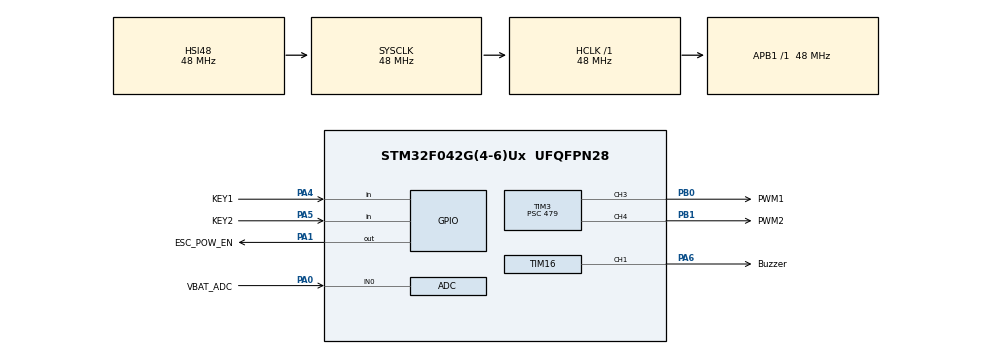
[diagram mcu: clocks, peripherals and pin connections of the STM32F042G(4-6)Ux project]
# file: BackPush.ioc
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ADC.ClockPrescaler=ADC_CLOCK_SYNC_PCLK_DIV4
ADC.ContinuousConvMode=ENABLE
ADC.DMAContinuousRequests=DISABLE
ADC.EnableAnalogWatchDog=false
ADC.SamplingTime=ADC_SAMPLETIME_239CYCLES_5
Mcu.Family=STM32F0
Mcu.Name=STM32F042G(4-6)Ux
Mcu.Package=UFQFPN28
PA0.GPIO_Label=VBAT_ADC
PA0.Mode=IN0
PA0.Signal=ADC_IN0
PA0.Stacked=true
PA1.GPIO_Label=ESC_POW_EN
PA1.GPIO_PuPd=GPIO_PULLUP
PA1.GPIO_Speed=GPIO_SPEED_FREQ_HIGH
PA1.Signal=GPIO_Output
PA13.Mode=Serial_Wire
PA13.Signal=SYS_SWDIO
PA14.Mode=Serial_Wire
PA14.Signal=SYS_SWCLK
PA4.GPIO_Label=KEY1
PA4.GPIO_PuPd=GPIO_PULLUP
PA4.Signal=GPIO_Input
PA5.GPIO_Label=KEY2
PA5.GPIO_PuPd=GPIO_PULLUP
PA5.Signal=GPIO_Input
PA6.GPIO_Label=Buzzer
PA6.Signal=S_TIM16_CH1
PB0.GPIO_Label=PWM1
PB0.Signal=S_TIM3_CH3
PB1.GPIO_Label=PWM2
PB1.Signal=S_TIM3_CH4
PF0-OSC_IN.Mode=HSE-External-Oscillator
PF0-OSC_IN.Signal=RCC_OSC_IN
PF1-OSC_OUT.Mode=HSE-External-Oscillator
PF1-OSC_OUT.Signal=RCC_OSC_OUT
ProjectManager.HeapSize=0x200
ProjectManager.StackSize=0x400
ProjectManager.TargetToolchain=MDK-ARM V5
RCC.AHBFreq_Value=48000000
RCC.APB1Freq_Value=48000000
RCC.APB1TimFreq_Value=48000000
RCC.HCLKFreq_Value=48000000
RCC.HSE_VALUE=25000000
RCC.PLLSourceVirtual=RCC_PLLSOURCE_HSE
RCC.SYSCLKFreq_VALUE=48000000
RCC.SYSCLKSource=RCC_SYSCLKSOURCE_HSI48
SH.S_TIM16_CH1.0=TIM16_CH1,PWM Generation1 CH1
SH.S_TIM3_CH3.0=TIM3_CH3,PWM Generation3 CH3
SH.S_TIM3_CH4.0=TIM3_CH4,PWM Generation4 CH4
TIM16.Channel=TIM_CHANNEL_1
TIM16.Period=24
TIM16.Prescaler=479
TIM3.Channel-PWM\ Generation3\ CH3=TIM_CHANNEL_3
TIM3.Channel-PWM\ Generation4\ CH4=TIM_CHANNEL_4
TIM3.Period=1999
TIM3.Prescaler=479
VP_TIM16_VS_ClockSourceINT.Mode=Enable_Timer
board=custom

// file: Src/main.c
/* USER CODE BEGIN Header */
/**
  ******************************************************************************
  * @file           : main.c
  * @brief          : Main program body
  ******************************************************************************
  * @attention
  *
  * <h2><center>&copy; Copyright (c) 2019 STMicroelectronics.
  * All rights reserved.</center></h2>
  *
  * This software component is licensed by ST under BSD 3-Clause license,
  * the "License"; You may not use this file except in compliance with the
  * License. You may obtain a copy of the License at:
  *                        opensource.org/licenses/BSD-3-Clause
  *
  ******************************************************************************
  */
/* USER CODE END Header */

#include "main.h"

/* USER CODE BEGIN Includes */

#include<stdio.h>

/* USER CODE END Includes */

ADC_HandleTypeDef hadc;

TIM_HandleTypeDef htim3;
TIM_HandleTypeDef htim16;

void SystemClock_Config(void);
static void MX_GPIO_Init(void);
static void MX_ADC_Init(void);
static void MX_TIM3_Init(void);
static void MX_TIM16_Init(void);

/* USER CODE BEGIN 0 */

extern __IO uint32_t uwTick;
typedef enum
{
	off = 0,
	one,
	two
}Gears;

typedef enum
{
	stop = 0,
	standby,
	on
}WorkStatus;

#define constrain(amt,low,high)  ((amt)<(low)?(low):((amt)>(high)?(high):(amt)))
#define ARRAY_NUMBER 50
ADC_HandleTypeDef hadc1;
TIM_HandleTypeDef htim1;
uint32_t ADC_Value[ARRAY_NUMBER],Volt_Sum,Volt_average;
float Volt_Real;
uint8_t key1_status,key2_status;
uint16_t pwm_value;
uint8_t i;
uint32_t runtimes;
uint32_t key1_count,key2_count;
uint8_t  key1_loosen,key2_loosen;
uint16_t pwm_target;
float pwm_temp;
uint8_t low_power_flag;
/* USER CODE END 0 */

int main(void)
{

  /* MCU Configuration--------------------------------------------------------*/

  /* Reset of all peripherals, Initializes the Flash interface and the Systick. */
  HAL_Init();

  /* Configure the system clock */
  SystemClock_Config();

  /* Initialize all configured peripherals */
  MX_GPIO_Init();
  MX_ADC_Init();
  MX_TIM3_Init();
  MX_TIM16_Init();
  /* USER CODE BEGIN 2 */
//	HAL_ADC_Start_DMA(&hadc1,(uint32_t *)&ADC_Value,100);
	HAL_TIM_PWM_Start(&htim3,TIM_CHANNEL_3);
	HAL_TIM_PWM_Start(&htim3,TIM_CHANNEL_4);
	HAL_TIM_PWM_Start(&htim16,TIM_CHANNEL_1);
	HAL_GPIO_WritePin(ESC_POW_EN_GPIO_Port,ESC_POW_EN_Pin,GPIO_PIN_RESET);
	//initialization electronic speed controller
//	__HAL_TIM_SET_COMPARE(&htim3,TIM_CHANNEL_3,100);
//	__HAL_TIM_SET_COMPARE(&htim3,TIM_CHANNEL_4,100);
//	HAL_Delay(1000);

  /* USER CODE END 2 */

  /* Infinite loop */
  while (1)
  {

    /* USER CODE BEGIN 3 */

		//key1 开关键 key2 速度键
//		key1_status = HAL_GPIO_ReadPin(GPIOA,KEY1_Pin);
//		key2_status = HAL_GPIO_ReadPin(GPIOA,KEY2_Pin);

		if(!HAL_GPIO_ReadPin(GPIOA,KEY1_Pin))
		{
			key1_count++;
		}
		else
		{
			key1_count = 0;
			key1_loosen = 1;
		}

		if(key1_status == stop)
		{
			if(key1_count >= 300)
			{
				if(key1_loosen == 1)
				{
					key1_status = standby;
					HAL_GPIO_WritePin(ESC_POW_EN_GPIO_Port,ESC_POW_EN_Pin,GPIO_PIN_SET);
					runtimes = uwTick;
					key1_loosen = 0;
					HAL_Delay(3000);
					__HAL_TIM_SET_COMPARE(&htim3,TIM_CHANNEL_3,100);
					__HAL_TIM_SET_COMPARE(&htim3,TIM_CHANNEL_4,100);
					HAL_Delay(1000);

				}
			}
		}

		if(key1_status == standby)
		{
			if(key1_count >= 300)
			{
				if(key1_loosen == 1)
				{
					key1_status = stop;
					HAL_GPIO_WritePin(ESC_POW_EN_GPIO_Port,ESC_POW_EN_Pin,GPIO_PIN_RESET);
					key1_loosen = 0;
				}
			}
		}

		if(key1_status == on)
		{
			if(key1_loosen == 1)
			{
				if(key1_count >= 10)
				{
					key1_status = standby;
					key2_status = off;
					key1_loosen = 0;
				}
			}
		}

		if(key1_status == standby)
		{
			if(uwTick - runtimes >= 4*3600*1000)
			{
				key1_status = stop;
				HAL_GPIO_WritePin(ESC_POW_EN_GPIO_Port,ESC_POW_EN_Pin,GPIO_PIN_RESET);
			}
		}

		if(!HAL_GPIO_ReadPin(GPIOA,KEY2_Pin))
		{
			key2_count++;
		}
		else
		{
			key2_count = 0;
			key2_loosen = 1;
		}

		if(key1_status == standby)
		{
			if(key2_count >= 10)
			{
				if(key2_loosen == 1)
				{
					key1_status = on;
					key2_status = one;
					key2_loosen = 0;
				}
			}
		}
		else if(key2_status == one)
		{
			if(key2_count >= 10)
			{
				if(key2_loosen == 1)
				{
					key1_status = on;
					key2_status = two;
					key2_loosen = 0;
				}
			}
		}
		else if(key2_status == two)
		{
			if(key2_count >= 10)
			{
				if(key2_loosen == 1)
				{
					key1_status = on;
					key2_status = one;
					key2_loosen = 0;
				}
			}
		}
		else
		{

		}

		HAL_ADC_Start(&hadc);
		HAL_ADC_PollForConversion(&hadc,10);
		for(i=0;i<ARRAY_NUMBER;i++)
		{
			ADC_Value[i] = HAL_ADC_GetValue(&hadc);
		}
		Volt_Sum = 0;
		for(i=0;i<ARRAY_NUMBER;i++)
		{
			Volt_Sum += ADC_Value[i];
		}
		Volt_average = Volt_Sum/ARRAY_NUMBER;
		Volt_Real = (float)Volt_average/141.2244897959184f;

		if(key1_status == on)
		{
			if(key2_status == one)
			{
				pwm_target = 150;
			}
			else if(key2_status == two)
			{
				pwm_target = 175;
			}
		}
		else
		{
				pwm_target = 100;
		}

		if(pwm_temp < pwm_target)
		{
			pwm_temp += 0.3f;
		}
		else if(pwm_temp > pwm_target)
		{
			pwm_temp -= 1.0f;
		}
		else
		{

		}
		pwm_temp = constrain(pwm_temp,100,200);

		if(Volt_Real >= 16.0f)
		{
			if(low_power_flag == 0)
			{
			__HAL_TIM_SET_COMPARE(&htim3,TIM_CHANNEL_3,pwm_temp);
			__HAL_TIM_SET_COMPARE(&htim3,TIM_CHANNEL_4,pwm_temp);
			}
		}
		else
		{
			key1_status = stop;
			key2_status = off;
			HAL_GPIO_WritePin(ESC_POW_EN_GPIO_Port,ESC_POW_EN_Pin,GPIO_PIN_RESET);
			low_power_flag = 1;
			__HAL_TIM_SET_COMPARE(&htim3,TIM_CHANNEL_3,100);
			__HAL_TIM_SET_COMPARE(&htim3,TIM_CHANNEL_4,100);
		}

		if(low_power_flag)
		{
			if(Volt_Real >= 19.0f)
			{
				low_power_flag = 0;
			}
		}

		if((key1_count > 0)||(key2_count > 0))
		{
			__HAL_TIM_SET_COMPARE(&htim16,TIM_CHANNEL_1,20);
		}
		else
		{
			__HAL_TIM_SET_COMPARE(&htim16,TIM_CHANNEL_1,0);
		}

//		__HAL_TIM_SET_COMPARE(&htim3,TIM_CHANNEL_3,pwm_value);
//		__HAL_TIM_SET_COMPARE(&htim3,TIM_CHANNEL_4,pwm_value);

		HAL_Delay(10);
  }
  /* USER CODE END 3 */
}

void SystemClock_Config(void)
{
  RCC_OscInitTypeDef RCC_OscInitStruct = {0};
  RCC_ClkInitTypeDef RCC_ClkInitStruct = {0};

  /** Initializes the CPU, AHB and APB busses clocks
  */
  RCC_OscInitStruct.OscillatorType = RCC_OSCILLATORTYPE_HSI48;
  RCC_OscInitStruct.HSI48State = RCC_HSI48_ON;
  RCC_OscInitStruct.PLL.PLLState = RCC_PLL_NONE;
  if (HAL_RCC_OscConfig(&RCC_OscInitStruct) != HAL_OK)
  {
    Error_Handler();
  }
  /** Initializes the CPU, AHB and APB busses clocks
  */
  RCC_ClkInitStruct.ClockType = RCC_CLOCKTYPE_HCLK|RCC_CLOCKTYPE_SYSCLK
                              |RCC_CLOCKTYPE_PCLK1;
  RCC_ClkInitStruct.SYSCLKSource = RCC_SYSCLKSOURCE_HSI48;
  RCC_ClkInitStruct.AHBCLKDivider = RCC_SYSCLK_DIV1;
  RCC_ClkInitStruct.APB1CLKDivider = RCC_HCLK_DIV1;

  if (HAL_RCC_ClockConfig(&RCC_ClkInitStruct, FLASH_LATENCY_1) != HAL_OK)
  {
    Error_Handler();
  }
}

static void MX_ADC_Init(void)
{

  ADC_ChannelConfTypeDef sConfig = {0};

  /** Configure the global features of the ADC (Clock, Resolution, Data Alignment and number of conversion)
  */
  hadc.Instance = ADC1;
  hadc.Init.ClockPrescaler = ADC_CLOCK_SYNC_PCLK_DIV4;
  hadc.Init.Resolution = ADC_RESOLUTION_12B;
  hadc.Init.DataAlign = ADC_DATAALIGN_RIGHT;
  hadc.Init.ScanConvMode = ADC_SCAN_DIRECTION_FORWARD;
  hadc.Init.EOCSelection = ADC_EOC_SINGLE_CONV;
  hadc.Init.LowPowerAutoWait = DISABLE;
  hadc.Init.LowPowerAutoPowerOff = DISABLE;
  hadc.Init.ContinuousConvMode = ENABLE;
  hadc.Init.DiscontinuousConvMode = DISABLE;
  hadc.Init.ExternalTrigConv = ADC_SOFTWARE_START;
  hadc.Init.ExternalTrigConvEdge = ADC_EXTERNALTRIGCONVEDGE_NONE;
  hadc.Init.DMAContinuousRequests = DISABLE;
  hadc.Init.Overrun = ADC_OVR_DATA_PRESERVED;
  if (HAL_ADC_Init(&hadc) != HAL_OK)
  {
    Error_Handler();
  }
  /** Configure for the selected ADC regular channel to be converted.
  */
  sConfig.Channel = ADC_CHANNEL_0;
  sConfig.Rank = ADC_RANK_CHANNEL_NUMBER;
  sConfig.SamplingTime = ADC_SAMPLETIME_239CYCLES_5;
  if (HAL_ADC_ConfigChannel(&hadc, &sConfig) != HAL_OK)
  {
    Error_Handler();
  }

}

static void MX_TIM3_Init(void)
{

  TIM_MasterConfigTypeDef sMasterConfig = {0};
  TIM_OC_InitTypeDef sConfigOC = {0};

  htim3.Instance = TIM3;
  htim3.Init.Prescaler = 479;
  htim3.Init.CounterMode = TIM_COUNTERMODE_UP;
  htim3.Init.Period = 1999;
  htim3.Init.ClockDivision = TIM_CLOCKDIVISION_DIV1;
  htim3.Init.AutoReloadPreload = TIM_AUTORELOAD_PRELOAD_DISABLE;
  if (HAL_TIM_PWM_Init(&htim3) != HAL_OK)
  {
    Error_Handler();
  }
  sMasterConfig.MasterOutputTrigger = TIM_TRGO_RESET;
  sMasterConfig.MasterSlaveMode = TIM_MASTERSLAVEMODE_DISABLE;
  if (HAL_TIMEx_MasterConfigSynchronization(&htim3, &sMasterConfig) != HAL_OK)
  {
    Error_Handler();
  }
  sConfigOC.OCMode = TIM_OCMODE_PWM1;
  sConfigOC.Pulse = 0;
  sConfigOC.OCPolarity = TIM_OCPOLARITY_HIGH;
  sConfigOC.OCFastMode = TIM_OCFAST_DISABLE;
  if (HAL_TIM_PWM_ConfigChannel(&htim3, &sConfigOC, TIM_CHANNEL_3) != HAL_OK)
  {
    Error_Handler();
  }
  if (HAL_TIM_PWM_ConfigChannel(&htim3, &sConfigOC, TIM_CHANNEL_4) != HAL_OK)
  {
    Error_Handler();
  }
  HAL_TIM_MspPostInit(&htim3);

}

static void MX_TIM16_Init(void)
{

  TIM_OC_InitTypeDef sConfigOC = {0};
  TIM_BreakDeadTimeConfigTypeDef sBreakDeadTimeConfig = {0};

  htim16.Instance = TIM16;
  htim16.Init.Prescaler = 479;
  htim16.Init.CounterMode = TIM_COUNTERMODE_UP;
  htim16.Init.Period = 24;
  htim16.Init.ClockDivision = TIM_CLOCKDIVISION_DIV1;
  htim16.Init.RepetitionCounter = 0;
  htim16.Init.AutoReloadPreload = TIM_AUTORELOAD_PRELOAD_DISABLE;
  if (HAL_TIM_Base_Init(&htim16) != HAL_OK)
  {
    Error_Handler();
  }
  if (HAL_TIM_PWM_Init(&htim16) != HAL_OK)
  {
    Error_Handler();
  }
  sConfigOC.OCMode = TIM_OCMODE_PWM1;
  sConfigOC.Pulse = 0;
  sConfigOC.OCPolarity = TIM_OCPOLARITY_HIGH;
  sConfigOC.OCNPolarity = TIM_OCNPOLARITY_HIGH;
  sConfigOC.OCFastMode = TIM_OCFAST_DISABLE;
  sConfigOC.OCIdleState = TIM_OCIDLESTATE_RESET;
  sConfigOC.OCNIdleState = TIM_OCNIDLESTATE_RESET;
  if (HAL_TIM_PWM_ConfigChannel(&htim16, &sConfigOC, TIM_CHANNEL_1) != HAL_OK)
  {
    Error_Handler();
  }
  sBreakDeadTimeConfig.OffStateRunMode = TIM_OSSR_DISABLE;
  sBreakDeadTimeConfig.OffStateIDLEMode = TIM_OSSI_DISABLE;
  sBreakDeadTimeConfig.LockLevel = TIM_LOCKLEVEL_OFF;
  sBreakDeadTimeConfig.DeadTime = 0;
  sBreakDeadTimeConfig.BreakState = TIM_BREAK_DISABLE;
  sBreakDeadTimeConfig.BreakPolarity = TIM_BREAKPOLARITY_HIGH;
  sBreakDeadTimeConfig.AutomaticOutput = TIM_AUTOMATICOUTPUT_DISABLE;
  if (HAL_TIMEx_ConfigBreakDeadTime(&htim16, &sBreakDeadTimeConfig) != HAL_OK)
  {
    Error_Handler();
  }
  HAL_TIM_MspPostInit(&htim16);

}

static void MX_GPIO_Init(void)
{
  GPIO_InitTypeDef GPIO_InitStruct = {0};

  /* GPIO Ports Clock Enable */
  __HAL_RCC_GPIOF_CLK_ENABLE();
  __HAL_RCC_GPIOA_CLK_ENABLE();
  __HAL_RCC_GPIOB_CLK_ENABLE();

  /*Configure GPIO pin Output Level */
  HAL_GPIO_WritePin(ESC_POW_EN_GPIO_Port, ESC_POW_EN_Pin, GPIO_PIN_RESET);

  /*Configure GPIO pin : ESC_POW_EN_Pin */
  GPIO_InitStruct.Pin = ESC_POW_EN_Pin;
  GPIO_InitStruct.Mode = GPIO_MODE_OUTPUT_PP;
  GPIO_InitStruct.Pull = GPIO_PULLUP;
  GPIO_InitStruct.Speed = GPIO_SPEED_FREQ_HIGH;
  HAL_GPIO_Init(ESC_POW_EN_GPIO_Port, &GPIO_InitStruct);

  /*Configure GPIO pins : KEY1_Pin KEY2_Pin */
  GPIO_InitStruct.Pin = KEY1_Pin|KEY2_Pin;
  GPIO_InitStruct.Mode = GPIO_MODE_INPUT;
  GPIO_InitStruct.Pull = GPIO_PULLUP;
  HAL_GPIO_Init(GPIOA, &GPIO_InitStruct);

}

void Error_Handler(void)
{
}

/************************ (C) COPYRIGHT STMicroelectronics *****END OF FILE****/
